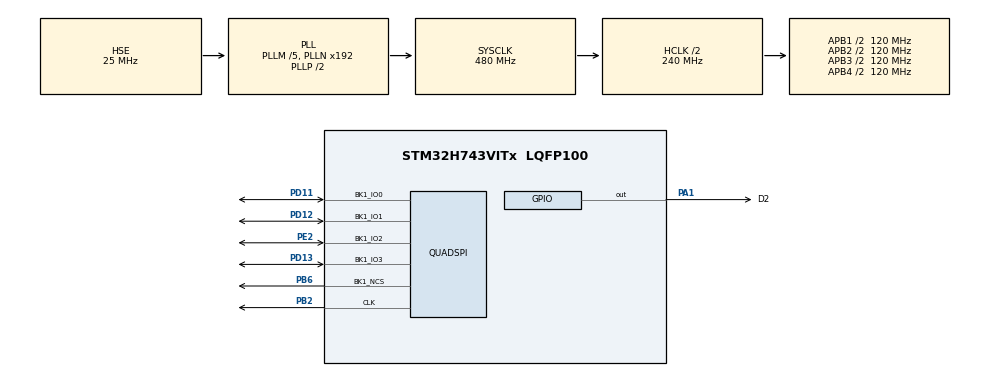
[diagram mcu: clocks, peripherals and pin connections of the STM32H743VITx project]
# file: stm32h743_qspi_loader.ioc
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Mcu.Family=STM32H7
Mcu.Name=STM32H743VITx
Mcu.Package=LQFP100
NVIC.PriorityGroup=NVIC_PRIORITYGROUP_4
PA1.GPIO_Label=D2
PA1.GPIO_ModeDefaultOutputPP=GPIO_MODE_OUTPUT_PP
PA1.GPIO_Speed=GPIO_SPEED_FREQ_VERY_HIGH
PA1.PinState=GPIO_PIN_SET
PA1.Signal=GPIO_Output
PB2.GPIO_Mode=GPIO_MODE_AF_PP
PB2.GPIO_PuPd=GPIO_NOPULL
PB2.GPIO_Speed=GPIO_SPEED_FREQ_VERY_HIGH
PB2.Mode=Single Bank 1
PB2.Signal=QUADSPI_CLK
PB6.GPIO_Mode=GPIO_MODE_AF_PP
PB6.GPIO_PuPd=GPIO_NOPULL
PB6.GPIO_Speed=GPIO_SPEED_FREQ_VERY_HIGH
PB6.Mode=Single Bank 1
PB6.Signal=QUADSPI_BK1_NCS
PD11.GPIO_Mode=GPIO_MODE_AF_PP
PD11.GPIO_PuPd=GPIO_NOPULL
PD11.GPIO_Speed=GPIO_SPEED_FREQ_VERY_HIGH
PD11.Mode=Single Bank 1
PD11.Signal=QUADSPI_BK1_IO0
PD12.GPIO_Mode=GPIO_MODE_AF_PP
PD12.GPIO_PuPd=GPIO_NOPULL
PD12.GPIO_Speed=GPIO_SPEED_FREQ_VERY_HIGH
PD12.Mode=Single Bank 1
PD12.Signal=QUADSPI_BK1_IO1
PD13.GPIO_Mode=GPIO_MODE_AF_PP
PD13.GPIO_PuPd=GPIO_NOPULL
PD13.GPIO_Speed=GPIO_SPEED_FREQ_VERY_HIGH
PD13.Mode=Single Bank 1
PD13.Signal=QUADSPI_BK1_IO3
PE2.GPIO_Mode=GPIO_MODE_AF_PP
PE2.GPIO_PuPd=GPIO_NOPULL
PE2.GPIO_Speed=GPIO_SPEED_FREQ_VERY_HIGH
PE2.Mode=Single Bank 1
PE2.Signal=QUADSPI_BK1_IO2
PH0-OSC_IN\ (PH0).Mode=HSE-External-Oscillator
PH0-OSC_IN\ (PH0).Signal=RCC_OSC_IN
PH1-OSC_OUT\ (PH1).Mode=HSE-External-Oscillator
PH1-OSC_OUT\ (PH1).Signal=RCC_OSC_OUT
ProjectManager.HeapSize=0x200
ProjectManager.StackSize=0x400
ProjectManager.TargetToolchain=STM32CubeIDE
QUADSPI.ClockPrescaler=1
QUADSPI.FifoThreshold=32
QUADSPI.FlashSize=23
RCC.ADCFreq_Value=200000000
RCC.APB1Freq_Value=120000000
RCC.APB2Freq_Value=120000000
RCC.APB3Freq_Value=120000000
RCC.APB4Freq_Value=120000000
RCC.CortexFreq_Value=480000000
RCC.D1PPRE=RCC_APB3_DIV2
RCC.D2PPRE1=RCC_APB1_DIV2
RCC.D2PPRE2=RCC_APB2_DIV2
RCC.D3PPRE=RCC_APB4_DIV2
RCC.DIVM1=5
RCC.DIVM2=10
RCC.DIVN1=192
RCC.DIVN2=160
RCC.DIVQ1=3
RCC.DIVR2=1
RCC.HCLKFreq_Value=240000000
RCC.HPRE=RCC_HCLK_DIV2
RCC.PLLFRACN=0
RCC.PLLSourceVirtual=RCC_PLLSOURCE_HSE
RCC.SYSCLKFreq_VALUE=480000000
RCC.SYSCLKSource=RCC_SYSCLKSOURCE_PLLCLK
RCC.USBFreq_Value=320000000
board=custom

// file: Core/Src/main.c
/* USER CODE BEGIN Header */
/**
  ******************************************************************************
  * @file           : main.c
  * @brief          : Main program body
  ******************************************************************************
  * @attention
  *
  * <h2><center>&copy; Copyright (c) 2020 STMicroelectronics.
  * All rights reserved.</center></h2>
  *
  * This software component is licensed by ST under BSD 3-Clause license,
  * the "License"; You may not use this file except in compliance with the
  * License. You may obtain a copy of the License at:
  *                        opensource.org/licenses/BSD-3-Clause
  *
  ******************************************************************************
  */
/* USER CODE END Header */
#include "main.h"
#include "quadspi.h"
#include "gpio.h"

void SystemClock_Config(void);
/* USER CODE BEGIN PFP */
int Init(void);
int Write(uint32_t Address, uint32_t Size, uint8_t* buffer);
int SectorErase(uint32_t EraseStartAddress, uint32_t EraseEndAddress);
int MassErase(void);
uint32_t CheckSum(uint32_t StartAddress, uint32_t Size, uint32_t InitVal);
uint64_t Verify(uint32_t MemoryAddr, uint32_t RAMBufferAddr, uint32_t Size,uint32_t missalignement);
/* USER CODE END PFP */

/* USER CODE BEGIN 0 */
#include <string.h>
#define SECTORS_COUNT 100

/* USER CODE END 0 */

int main(void)
{
  /* USER CODE BEGIN 1 */
    uint8_t buffer_test[MEMORY_SECTOR_SIZE];

    uint32_t var = 0;
  /* USER CODE END 1 */

  /* MCU Configuration--------------------------------------------------------*/

  /* Reset of all peripherals, Initializes the Flash interface and the Systick. */
  HAL_Init();

  /* Configure the system clock */
  SystemClock_Config();

  /* Initialize all configured peripherals */
  MX_GPIO_Init();
  MX_QUADSPI_Init();
  /* USER CODE BEGIN 2 */

      if( HAL_ERROR == CSP_QUADSPI_Init() )
      {
         while( 1UL )
         {
             HAL_GPIO_WritePin(D2_GPIO_Port, D2_Pin, GPIO_PIN_SET);
             HAL_Delay(80);
             HAL_GPIO_WritePin(D2_GPIO_Port, D2_Pin, GPIO_PIN_RESET);
             HAL_Delay(80);
         }
      }

     for (var = 0; var < MEMORY_SECTOR_SIZE; var++) {
         buffer_test[var] = (var & 0xff);
     }

     for (var = 0; var < SECTORS_COUNT; var++)
     {
         if (CSP_QSPI_EraseSector(var * MEMORY_SECTOR_SIZE,
                 (var + 1) * MEMORY_SECTOR_SIZE - 1) != HAL_OK)
         {
             while( 1UL )
             {
                 HAL_GPIO_WritePin(D2_GPIO_Port, D2_Pin, GPIO_PIN_SET);
                 HAL_Delay(80);
                 HAL_GPIO_WritePin(D2_GPIO_Port, D2_Pin, GPIO_PIN_RESET);
                 HAL_Delay(80);
             }
         }

         if (CSP_QSPI_WriteMemory(buffer_test, var * MEMORY_SECTOR_SIZE,
                 sizeof(buffer_test)) != HAL_OK)
         {
             while( 1UL )
             {
                 HAL_GPIO_WritePin(D2_GPIO_Port, D2_Pin, GPIO_PIN_SET);
                 HAL_Delay(80);
                 HAL_GPIO_WritePin(D2_GPIO_Port, D2_Pin, GPIO_PIN_RESET);
                 HAL_Delay(80);
             }
         }
     }

//    if( CSP_QSPI_EnableMemoryMappedMode() != QSPI_OK )
//    {
//         while( 1UL )
//         {
//             HAL_GPIO_WritePin(D2_GPIO_Port, D2_Pin, GPIO_PIN_SET);
//             HAL_Delay(80);
//             HAL_GPIO_WritePin(D2_GPIO_Port, D2_Pin, GPIO_PIN_RESET);
//             HAL_Delay(80);
//         }
//    }

//     for (var = 0; var < SECTORS_COUNT; var++)
//     {
//         if (memcmp(buffer_test,
//                 (uint8_t*) (0x90000000 + var * MEMORY_SECTOR_SIZE),
//                 MEMORY_SECTOR_SIZE) != HAL_OK)
//         {
//             while( 1UL )
//             {
//                 HAL_GPIO_WritePin(D2_GPIO_Port, D2_Pin, GPIO_PIN_SET);
//                 HAL_Delay(80);
//                 HAL_GPIO_WritePin(D2_GPIO_Port, D2_Pin, GPIO_PIN_RESET);
//                 HAL_Delay(80);
//             }
//         }
//     }

//     Init();
//     MassErase();
//     SectorErase(0, 4095);
//     Write(1, 1, (uint8_t*) 1);
//     CheckSum(1, 1, 1);
//     Verify(1, 1, 1, 1);

//     if( 1U != MassErase() )
//     {
//         while(1UL);
//     }

//     if( SectorErase(0, 4095) != 1U )
//     {
//         while(1UL);
//     }

  /* USER CODE END 2 */

  /* Infinite loop */
  /* USER CODE BEGIN WHILE */
  while (1)
  {
      HAL_GPIO_WritePin(D2_GPIO_Port, D2_Pin, GPIO_PIN_SET);
      HAL_Delay(500);
      HAL_GPIO_WritePin(D2_GPIO_Port, D2_Pin, GPIO_PIN_RESET);
      HAL_Delay(500);
    /* USER CODE END WHILE */

    /* USER CODE BEGIN 3 */
  }
    Init();
    MassErase();
    SectorErase(0, 4095);
    Write(1, 1, (uint8_t*) 1);
    CheckSum(1, 1, 1);
    Verify(1, 1, 1, 1);
  /* USER CODE END 3 */
}

void SystemClock_Config(void)
{
  RCC_OscInitTypeDef RCC_OscInitStruct = {0};
  RCC_ClkInitTypeDef RCC_ClkInitStruct = {0};
  RCC_PeriphCLKInitTypeDef PeriphClkInitStruct = {0};

  /** Supply configuration update enable
  */
  HAL_PWREx_ConfigSupply(PWR_LDO_SUPPLY);
  /** Configure the main internal regulator output voltage
  */
  __HAL_PWR_VOLTAGESCALING_CONFIG(PWR_REGULATOR_VOLTAGE_SCALE0);

  while(!__HAL_PWR_GET_FLAG(PWR_FLAG_VOSRDY)) {}
  /** Initializes the RCC Oscillators according to the specified parameters
  * in the RCC_OscInitTypeDef structure.
  */
  RCC_OscInitStruct.OscillatorType = RCC_OSCILLATORTYPE_HSE;
  RCC_OscInitStruct.HSEState = RCC_HSE_ON;
  RCC_OscInitStruct.PLL.PLLState = RCC_PLL_ON;
  RCC_OscInitStruct.PLL.PLLSource = RCC_PLLSOURCE_HSE;
  RCC_OscInitStruct.PLL.PLLM = 5;
  RCC_OscInitStruct.PLL.PLLN = 192;
  RCC_OscInitStruct.PLL.PLLP = 2;
  RCC_OscInitStruct.PLL.PLLQ = 3;
  RCC_OscInitStruct.PLL.PLLR = 2;
  RCC_OscInitStruct.PLL.PLLRGE = RCC_PLL1VCIRANGE_2;
  RCC_OscInitStruct.PLL.PLLVCOSEL = RCC_PLL1VCOWIDE;
  RCC_OscInitStruct.PLL.PLLFRACN = 0;
  if (HAL_RCC_OscConfig(&RCC_OscInitStruct) != HAL_OK)
  {
    Error_Handler();
  }
  /** Initializes the CPU, AHB and APB buses clocks
  */
  RCC_ClkInitStruct.ClockType = RCC_CLOCKTYPE_HCLK|RCC_CLOCKTYPE_SYSCLK
                              |RCC_CLOCKTYPE_PCLK1|RCC_CLOCKTYPE_PCLK2
                              |RCC_CLOCKTYPE_D3PCLK1|RCC_CLOCKTYPE_D1PCLK1;
  RCC_ClkInitStruct.SYSCLKSource = RCC_SYSCLKSOURCE_PLLCLK;
  RCC_ClkInitStruct.SYSCLKDivider = RCC_SYSCLK_DIV1;
  RCC_ClkInitStruct.AHBCLKDivider = RCC_HCLK_DIV2;
  RCC_ClkInitStruct.APB3CLKDivider = RCC_APB3_DIV2;
  RCC_ClkInitStruct.APB1CLKDivider = RCC_APB1_DIV2;
  RCC_ClkInitStruct.APB2CLKDivider = RCC_APB2_DIV2;
  RCC_ClkInitStruct.APB4CLKDivider = RCC_APB4_DIV2;

  if (HAL_RCC_ClockConfig(&RCC_ClkInitStruct, FLASH_LATENCY_4) != HAL_OK)
  {
    Error_Handler();
  }
  PeriphClkInitStruct.PeriphClockSelection = RCC_PERIPHCLK_QSPI;
  PeriphClkInitStruct.QspiClockSelection = RCC_QSPICLKSOURCE_D1HCLK;
  if (HAL_RCCEx_PeriphCLKConfig(&PeriphClkInitStruct) != HAL_OK)
  {
    Error_Handler();
  }
}

void Error_Handler(void)
{
}

/************************ (C) COPYRIGHT STMicroelectronics *****END OF FILE****/
